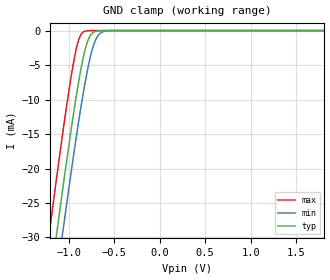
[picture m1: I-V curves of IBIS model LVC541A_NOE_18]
| [Disclaimer] Property of Texas Instruments Incorporated.  Unauthorized
| reproduction and/or distribution is strictly prohibited.
| This product is protected under copyright law.
| Created  2004, (C) Copyright  2004, Texas Instruments
| Incorporated, All Rights Reserved
| UNLESS THERE IS A SIGNED, WRITTEN AGREEMENT TO THE
| CONTRARY, TEXAS INSTRUMENTS (TI) IS PROVIDING THE IBIS
| MODELS  AND WITHOUT ANY WARRANTY, EXPRESSED OR
| IMPLIED.  TI assumes no liability for:
| 1) the accuracy of the IBIS models provided to your
| company;
| 2) the proper functioning of these IBIS Models in your
| design or for any resulting applications; or
| 3) infringement of patents, copyrights or intellectual
| property rights resulting from your use of these IBIS
| models.
| TI provides IBIS Models as a service to our customers.
| You and your company shall not distribute, sell or give
| these models to anyone else without prior written
| permission from TI.
| TI reserves the right to make changes to our products or
| to discontinue any semiconductor product or service
| without notice, and advises our customers to obtain the
| latest version of relevant information to verify, before
| placing orders, that the information being relied on is
| current.
| Please be aware that your receipt and use of the IBIS
| information provided shall serve as acceptance of these
| terms and conditions.  If you do not accept these terms,
| you should return or destroy the IBIS models and any
| other accompanying information immediately.
| From sn74lvc541a.ibs, Texas Instruments, Inc.
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[Model]   LVC541A_NOE_18
Model_type  Input
Vinl=0.5775
Vinh=1.2675
| variable   typ   min   max
C_comp   3.20pF   2.95pF   3.73pF
[Temperature Range]   40   100   -40
| Ambient temperature   25   85   -40
[Voltage range]   1.8   1.65   1.95
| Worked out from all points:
|   GND clamp passes 1 mA (typ) near -0.77 V on its own axis
[GND Clamp]
| LVC541A_NOE_18
|   Voltage   I(typ)   I(min)   I(max)
-5V       -443mA     -448.4mA   -436.3mA
-1.225V   -38.95mA   -45.29mA   -30.81mA
-1.2V     -36.43mA   -42.78mA   -28.28mA
-1.13V    -29.46mA   -35.8mA    -21.3mA
-1.07V    -23.6mA    -29.93mA   -15.5mA
-1.055V   -22.16mA   -28.48mA   -14.08mA
-955mV    -12.94mA   -19.06mA   -5.398mA
-885mV    -7.147mA   -12.88mA   -1.216mA
-780mV    -1.214mA   -4.964mA   -14.58uA
-720mV    -205uA     -1.928mA   -870.6nA
-655mV    -22.28uA   -427.1uA   -40.85nA
1.8V      5.068pA    10.93pA    4.764pA
